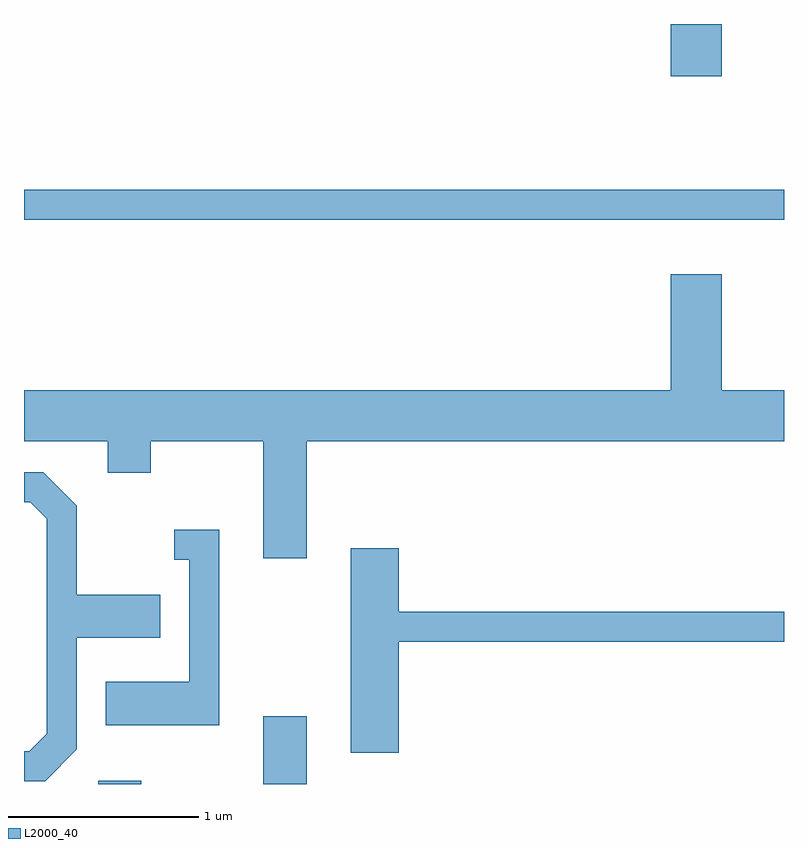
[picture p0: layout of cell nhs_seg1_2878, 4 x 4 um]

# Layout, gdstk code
import gdstk
lib = gdstk.Library(unit=1e-6, precision=1e-09)
def R(c, l, rs):  # rectangles x0, y0, x1, y1
    for r in rs: c.add(gdstk.rectangle(r[:2], r[2:], *l))
def P(c, l, *ps):  # polygons
    for p in ps: c.add(gdstk.Polygon(p, *l))
L2000_40 = (2000, 40)

nhs_seg1_2878 = lib.new_cell('nhs_seg1_2878')
R(nhs_seg1_2878, L2000_40, [(272.001,957.712,272.229,957.729), (272.871,957.712,273.099,958.069), (271.611,960.681,275.611,960.839), (275.016,961.436,275.284,961.712)])
P(nhs_seg1_2878, L2000_40, [(273.099,959.516),(275.611,959.516),(275.611,959.784),(275.284,959.784),(275.284,960.394),(275.016,960.394),(275.016,959.784),(271.611,959.784),(271.611,959.516),(272.051,959.516),(272.051,959.351),(272.279,959.351),(272.279,959.516),(272.871,959.516),(272.871,958.901),(273.099,958.901)],
  [(271.889,957.894),(271.889,958.481),(272.329,958.481),(272.329,958.709),(271.889,958.709),(271.889,959.177),(271.712,959.354),(271.611,959.354),(271.611,959.196),(271.644,959.196),(271.731,959.109),(271.731,957.977),(271.639,957.884),(271.611,957.884),(271.611,957.726),(271.722,957.726)],
  [(272.639,959.049),(272.403,959.049),(272.403,958.891),(272.481,958.891),(272.481,958.249),(272.041,958.249),(272.041,958.021),(272.639,958.021)],
  [(273.584,958.461),(275.611,958.461),(275.611,958.619),(273.584,958.619),(273.584,958.954),(273.331,958.954),(273.331,957.876),(273.584,957.876)])

lib.write_gds('nhs_seg1_2878.gds')
